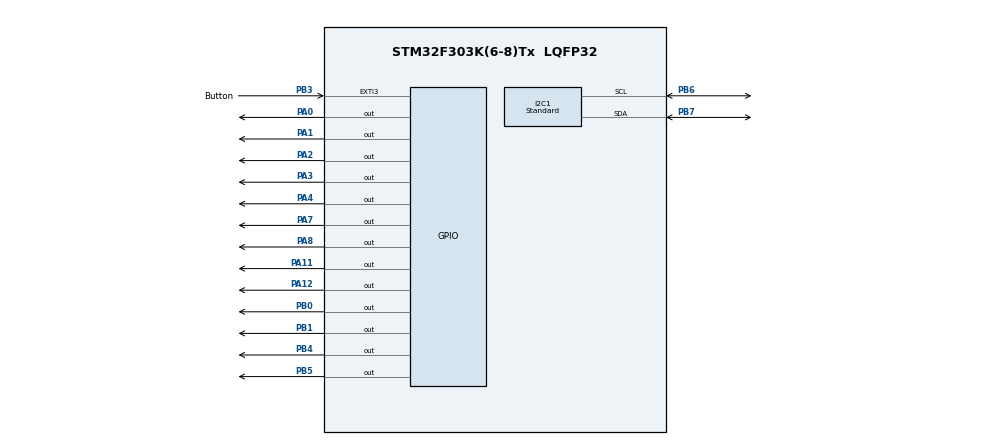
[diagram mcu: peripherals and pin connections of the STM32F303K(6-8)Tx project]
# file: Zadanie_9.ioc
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I2C1.I2C_Speed_Mode=I2C_Standard
I2C1.OwnAddress=1
Mcu.Family=STM32F3
Mcu.Name=STM32F303K(6-8)Tx
Mcu.Package=LQFP32
NVIC.EXTI3_IRQn=true\:0\:0\:false\:false\:true\:true\:true
NVIC.I2C1_EV_IRQn=true\:0\:0\:false\:false\:true\:true\:true
NVIC.PriorityGroup=NVIC_PRIORITYGROUP_4
NVIC.TIM2_IRQn=true\:0\:0\:false\:false\:true\:true\:true
PA0.Signal=GPIO_Output
PA1.Signal=GPIO_Output
PA11.Signal=GPIO_Output
PA12.Signal=GPIO_Output
PA2.Signal=GPIO_Output
PA3.Signal=GPIO_Output
PA4.Signal=GPIO_Output
PA7.Signal=GPIO_Output
PA8.Signal=GPIO_Output
PB0.Signal=GPIO_Output
PB1.Signal=GPIO_Output
PB3.GPIO_Label=Button
PB3.GPIO_ModeDefaultEXTI=GPIO_MODE_IT_RISING
PB3.Signal=GPXTI3
PB4.Signal=GPIO_Output
PB5.Signal=GPIO_Output
PB6.Mode=I2C
PB6.Signal=I2C1_SCL
PB7.Mode=I2C
PB7.Signal=I2C1_SDA
ProjectManager.HeapSize=0x200
ProjectManager.StackSize=0x400
ProjectManager.TargetToolchain=STM32CubeIDE
RCC.AHBFreq_Value=8000000
RCC.APB1Freq_Value=8000000
RCC.APB2Freq_Value=8000000
RCC.CortexFreq_Value=8000000
RCC.HSE_VALUE=8000000
RCC.HSI_VALUE=8000000
RCC.SYSCLKFreq_VALUE=8000000
TIM2.Channel-Output\ Compare1\ No\ Output=TIM_CHANNEL_1
TIM2.Period=9
TIM2.Prescaler=799
VP_TIM2_VS_ClockSourceINT.Mode=Internal
VP_TIM2_VS_no_output1.Mode=Output Compare1 No Output
board=custom

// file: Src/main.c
/* USER CODE BEGIN Header */
/**
  ******************************************************************************
  * @file           : main.c
  * @brief          : Main program body
  ******************************************************************************
  * @attention
  *
  * <h2><center>&copy; Copyright (c) 2019 STMicroelectronics.
  * All rights reserved.</center></h2>
  *
  * This software component is licensed by ST under BSD 3-Clause license,
  * the "License"; You may not use this file except in compliance with the
  * License. You may obtain a copy of the License at:
  *                        opensource.org/licenses/BSD-3-Clause
  *
  ******************************************************************************
  */
/* USER CODE END Header */

#include "main.h"
#include "i2c.h"
#include "tim.h"
#include "gpio.h"
#include "display.h"
#include <string.h>
#include "math.h"
#include <stdlib.h>

/* USER CODE BEGIN Includes */
#include "lsm6ds0.h"
#include "hts221.h"
#include "lps25hb.h"
#include "lis3mdltr.h"
/* USER CODE END Includes */

/* USER CODE BEGIN PTD */
uint8_t temp = 0;
float mag[3], acc[3];

float temperature = 0;
float humidity = 0;
float pressure = 0;
float azimuth = 0;
float altitude = 0;

extern uint64_t disp_time;
//char string[]= "MARTINHORVATH92601";
char string[20]= "";
char string_to_display[5]= "";
char empty_string[]=" ";
uint64_t saved_time;
int switch_state=1;
int set_state=1;
/* USER CODE END PTD */

/* USER CODE BEGIN PV */
//lsm6ds0_init();
/* USER CODE END PV */

void SystemClock_Config(void);

int main(void)
{

  /* MCU Configuration--------------------------------------------------------*/

  /* Reset of all peripherals, Initializes the Flash interface and the Systick. */

  LL_APB2_GRP1_EnableClock(LL_APB2_GRP1_PERIPH_SYSCFG);
  LL_APB1_GRP1_EnableClock(LL_APB1_GRP1_PERIPH_PWR);

  NVIC_SetPriorityGrouping(NVIC_PRIORITYGROUP_4);

  /* System interrupt init*/

  /* Configure the system clock */
  SystemClock_Config();

  /* Initialize all configured peripherals */
  MX_GPIO_Init();
  MX_I2C1_Init();

  /* USER CODE BEGIN 2 */

  setSegments();
  setDigits();
  LL_mDelay(2000);
  resetDigits();
  resetSegments();
  lsm6ds0_init();

  hts221_init();
  lis3mdl_init();
  lps25hb_init();

  MX_TIM2_Init();
  /* USER CODE END 2 */
  int shift=0;
  int index=0;
  int direction=1;
  char azimuth_string[10];
  char humidity_string[10];
  char temperature_string[10];
  char altitude_string[10];
  char pressure_string[10];
  char number[10];
  int fast_refresh=0; // please set this variable to 1 in case you want to fast refresh rate of measured values
  /* Infinite loop */
  while (1)
  {
	  /*
	  	  lsm6ds0_get_acc(acc, (acc+1), (acc+2));
	  	  LL_mDelay(50);
	  	  */

	  	  humidity = hts221_get_humidity()*1.00f;
	  	  temperature = hts221_get_temperature()*1.00f;
		  pressure = lps25hb_get_pressure()*1.00f;
		  azimuth = lis3mdl_get_azimuth()*1.00f;
		  altitude = get_altitude()*1.00f;

		  if(set_state!=switch_state)
		  {
			  shift=0;
			  direction=1;
			  set_state=switch_state;

		  }

		  // this if is used for refreshing measured values only when message is fully printed out this feature was added for better readability
		  if(((shift==0)&&(direction==1))||(fast_refresh==1))
		  {

			  if(switch_state==1)
			  {
				  memset(string,0,strlen(string));
				  memset(azimuth_string,0,strlen(azimuth_string));

				  gcvt(azimuth,7, azimuth_string);
				  int i;
				  int toggle=0;

				  for (i=0;i<7;i++)
					{
					  number[i]=azimuth_string[i];
					  if(toggle!=0) toggle++;
					  if(toggle==3) break;
					  if((azimuth_string[i]=='.')||(azimuth_string[i]==','))
					  {
						  toggle=1;
					  }
					}
				  number[i]='\0';

				  strcat(string, "MAG_");
				  strcat(string, number);
			  }
			  else if(switch_state==2)
			  {
				  memset(string,0,strlen(string));
				  memset(temperature_string,0,strlen(temperature_string));

				  gcvt(temperature,7, temperature_string);
				  int i;
				  int toggle=0;

				  for (i=0;i<7;i++)
					{
					  number[i]=temperature_string[i];
					  if(toggle!=0) toggle++;
					  if(toggle==3) break;
					  if((temperature_string[i]=='.')||(temperature_string[i]==','))
					  {
						  toggle=1;
					  }
					}
				  number[i]='\0';

				  strcat(string, "TEM_");
				  strcat(string, number);

			  }
			  else if(switch_state==3)
			  {

				  memset(string,0,strlen(string));
				  memset(humidity_string,0,strlen(humidity_string));

				  gcvt(humidity,7, humidity_string);

				  int i;
				  for (i=0;i<7;i++)
					{
					  number[i]=humidity_string[i];
					  if((humidity_string[i]=='.')||(humidity_string[i]==','))
					  {
						  break;
					  }
					}
				  number[i]='\0';

				  strcat(string, "HUM_");
				 				  strcat(string, number);
			  }
			  else if(switch_state==4)
			  {

				  memset(string,0,strlen(string));
				  memset(pressure_string,0,strlen(pressure_string));

				  gcvt(pressure,7, pressure_string);
				  int i;
				  int toggle=0;

				  for (i=0;i<7;i++)
					{
					  number[i]=pressure_string[i];
					  if(toggle!=0) toggle++;
					  if(toggle==4) break;
					  if((pressure_string[i]=='.')||(pressure_string[i]==','))
					  {
						  toggle=1;
					  }
					}
				  number[i]='\0';

				  strcat(string, "BAR_");
				  strcat(string, number);
			  }
			  else if(switch_state==5)
			  {

				  memset(string,0,strlen(string));
				  memset(altitude_string,0,strlen(altitude_string));

				  gcvt(altitude,6, altitude_string);
				  int i;
				  int toggle=0;

				  for (i=0;i<6;i++)
					{
					  number[i]=altitude_string[i];
					  if(toggle!=0) toggle++;
					  if(toggle==3) break;
					  if((altitude_string[i]=='.')||(altitude_string[i]==','))
					  {
						  toggle=1;
					  }
					}
				  number[i]='\0';

				  strcat(string, "ALT_");
				  strcat(string, number);
			  }

		  }

		  index=shift;

		  LL_mDelay(500);

		  if(direction==1)
		  {

			  for(int i = 0; i < 4; i++){

				 /* if(index+i>=(strlen(string))){
					  string_to_display[i]=empty_string[0];

				  }
				  else
				  {
					  string_to_display[i]=string[index+i];
				  }*/

				  string_to_display[i]=string[index+i];

			  }

			  if(shift<(strlen(string)-4)){
				  shift++;
			  }
			  else
			  {

				  direction=0;
			  }
		  }
		  else
		  {

			  for(int i = 0; i < 4; i++)
			  {

				  /*if(index+i>=(strlen(string))){
					  string_to_display[i]=empty_string[0];

				  }
				  else
				  {
					  string_to_display[i]=string[index+i];
				  }*/

				  string_to_display[i]=string[index+i];
			  }

			  if(shift!=0){
				  shift--;
			  }
			  else
			  {

				  direction=1;
			  }

		  }

  }
}

void SystemClock_Config(void)
{
  LL_FLASH_SetLatency(LL_FLASH_LATENCY_0);

  if(LL_FLASH_GetLatency() != LL_FLASH_LATENCY_0)
  {
  Error_Handler();
  }
  LL_RCC_HSI_Enable();

   /* Wait till HSI is ready */
  while(LL_RCC_HSI_IsReady() != 1)
  {

  }
  LL_RCC_HSI_SetCalibTrimming(16);
  LL_RCC_SetAHBPrescaler(LL_RCC_SYSCLK_DIV_1);
  LL_RCC_SetAPB1Prescaler(LL_RCC_APB1_DIV_1);
  LL_RCC_SetAPB2Prescaler(LL_RCC_APB1_DIV_1);
  LL_RCC_SetSysClkSource(LL_RCC_SYS_CLKSOURCE_HSI);

   /* Wait till System clock is ready */
  while(LL_RCC_GetSysClkSource() != LL_RCC_SYS_CLKSOURCE_STATUS_HSI)
  {

  }
  LL_Init1msTick(8000000);
  LL_SYSTICK_SetClkSource(LL_SYSTICK_CLKSOURCE_HCLK);
  LL_SetSystemCoreClock(8000000);
  LL_RCC_SetI2CClockSource(LL_RCC_I2C1_CLKSOURCE_HSI);
  LL_SYSTICK_EnableIT();
}

/* USER CODE BEGIN 4 */

float get_altitude()
{
	//https://keisan.casio.com/exec/system/1224585971

	float pressure_alt = lps25hb_get_pressure();
	float temperature_alt = hts221_get_temperature();
	float altitude_alt;

	altitude_alt = ((powf((1013.25/pressure_alt),1/5.257)-1)*(temperature_alt+273.15))/0.0065;

	return altitude_alt;
}

/* USER CODE END 4 */

void Error_Handler(void)
{
}

/************************ (C) COPYRIGHT STMicroelectronics *****END OF FILE****/
